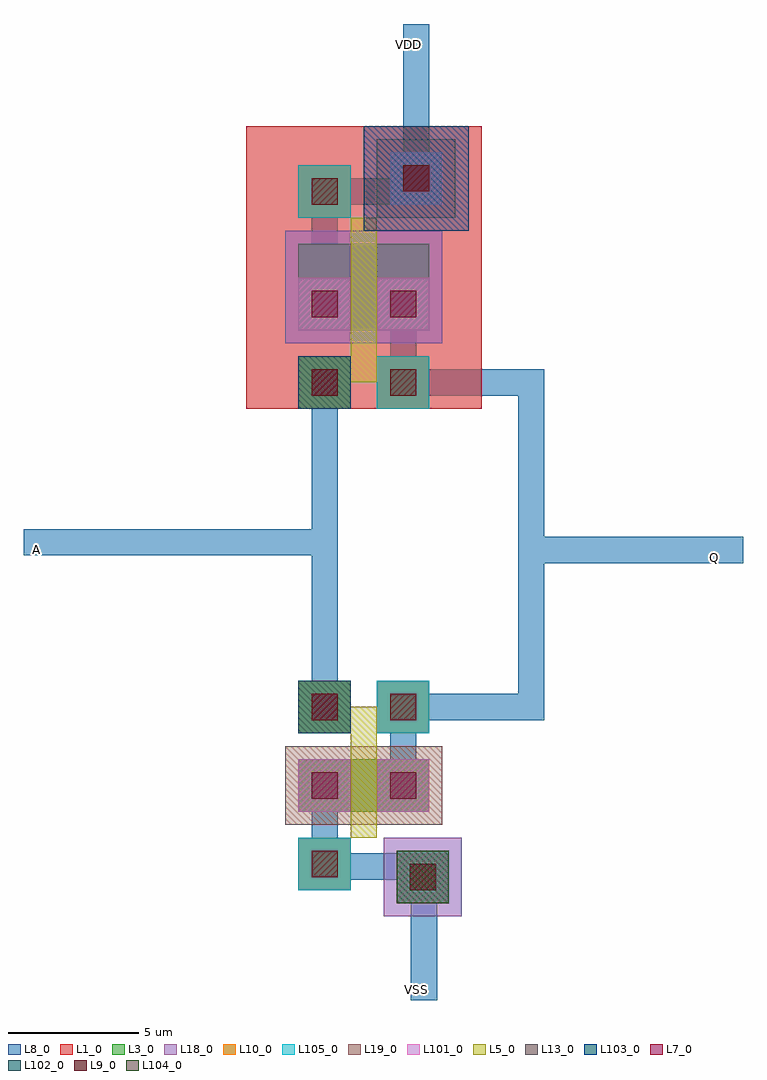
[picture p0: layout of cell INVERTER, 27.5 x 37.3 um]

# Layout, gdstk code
import gdstk
lib = gdstk.Library(unit=1e-6, precision=1e-09)
def R(c, l, rs):  # rectangles x0, y0, x1, y1
    for r in rs: c.add(gdstk.rectangle(r[:2], r[2:], *l))
L1_0 = (1, 0)
L3_0 = (3, 0)
L5_0 = (5, 0)
L7_0 = (7, 0)
L8_0 = (8, 0)
L9_0 = (9, 0)
L10_0 = (10, 0)
L13_0 = (13, 0)
L18_0 = (18, 0)
L19_0 = (19, 0)
L101_0 = (101, 0)
L102_0 = (102, 0)
L103_0 = (103, 0)
L104_0 = (104, 0)
L105_0 = (105, 0)

dcont = lib.new_cell('dcont')
R(dcont, L3_0, [(-1,-1,1,1)])
R(dcont, L7_0, [(-0.5,-0.5,0.5,0.5)])
R(dcont, L8_0, [(-1,-1,1,1)])
R(dcont, L13_0, [(-0.5,-0.5,0.5,0.5)])
R(dcont, L101_0, [(-1,-1,1,1)])

pcont = lib.new_cell('pcont')
R(pcont, L5_0, [(-1,-1,1,1)])
R(pcont, L7_0, [(-0.5,-0.5,0.5,0.5)])
R(pcont, L8_0, [(-1,-1,1,1)])
R(pcont, L13_0, [(-0.5,-0.5,0.5,0.5)])
R(pcont, L102_0, [(-1,-1,1,1)])

via = lib.new_cell('Via')
R(via, L8_0, [(-1,-1,1,1)])
R(via, L9_0, [(-0.5,-0.5,0.5,0.5)])
R(via, L10_0, [(-1,-1,1,1)])
R(via, L13_0, [(-0.5,-0.5,0.5,0.5)])
R(via, L105_0, [(-1,-1,1,1)])

dcont1 = lib.new_cell('dcont1')
R(dcont1, L3_0, [(-1,-1,1,1)])
R(dcont1, L7_0, [(-0.5,-0.5,0.5,0.5)])
R(dcont1, L8_0, [(-1,-1,1,1)])
R(dcont1, L13_0, [(-0.5,-0.5,0.5,0.5)])
R(dcont1, L101_0, [(-1,-1,1,1)])

psubcont = lib.new_cell('psubcont')
R(psubcont, L18_0, [(-1.5,-1.5,1.5,1.5)])
R(psubcont, L104_0, [(-1,-1,1,1)])
psubcont.add(gdstk.Reference(dcont1, (0,0)))

nch_1 = lib.new_cell('Nch$1')
R(nch_1, L3_0, [(0,3,5,5)])
R(nch_1, L19_0, [(-0.5,2.5,5.5,5.5)])
nch_1.add(gdstk.FlexPath([(1,3),(1,5)], 2, ends="flush", simple_path=True, layer=8, datatype=0))  # L8_0
nch_1.add(gdstk.FlexPath([(4,3),(4,5)], 2, ends="flush", simple_path=True, layer=8, datatype=0))  # L8_0
nch_1.add(gdstk.FlexPath([(1,1),(1,4)], 1, ends="flush", simple_path=True, layer=8, datatype=0))  # L8_0
nch_1.add(gdstk.FlexPath([(4,4),(4,7)], 1, ends="flush", simple_path=True, layer=8, datatype=0))  # L8_0
nch_1.add(gdstk.FlexPath([(2.5,3),(2.5,5)], 1, ends=(1, 1), simple_path=True, layer=5, datatype=0))  # L5_0
nch_1.add(gdstk.FlexPath([(1,6.5),(2.5,6.5),(2.5,6)], 1, ends="flush", simple_path=True, layer=5, datatype=0))  # L5_0
nch_1.add(gdstk.Reference(dcont, (1,4)))
nch_1.add(gdstk.Reference(dcont, (4,4)))
nch_1.add(gdstk.Reference(pcont, (1,7)))
nch_1.add(gdstk.Reference(via, (1,7)))
nch_1.add(gdstk.Reference(via, (1,1)))
nch_1.add(gdstk.Reference(via, (4,7)))
nch_1.add(gdstk.Reference(psubcont, (4.75,0.5)))
nch_1.add(gdstk.Reference(via, (4.75,0.5)))

nsubcont = lib.new_cell('nsubcont')
R(nsubcont, L1_0, [(-2,-2,2,2)])
R(nsubcont, L19_0, [(-1.5,-1.5,1.5,1.5)])
R(nsubcont, L103_0, [(-2,-2,2,2)])
nsubcont.add(gdstk.Reference(dcont1, (0,0)))

pch_1 = lib.new_cell('Pch$1')
R(pch_1, L1_0, [(-2,0,7,10.8)])
R(pch_1, L3_0, [(0,3,5,6.3)])
R(pch_1, L18_0, [(-0.5,2.5,5.5,6.8)])
pch_1.add(gdstk.FlexPath([(1,3),(1,6.3)], 2, ends="flush", simple_path=True, layer=8, datatype=0))  # L8_0
pch_1.add(gdstk.FlexPath([(4,3),(4,6.3)], 2, ends="flush", simple_path=True, layer=8, datatype=0))  # L8_0
pch_1.add(gdstk.FlexPath([(1,5.3),(1,8.3)], 1, ends="flush", simple_path=True, layer=8, datatype=0))  # L8_0
pch_1.add(gdstk.FlexPath([(4,1),(4,4)], 1, ends="flush", simple_path=True, layer=8, datatype=0))  # L8_0
pch_1.add(gdstk.FlexPath([(2.5,3),(2.5,6.3)], 1, ends=(1, 1), simple_path=True, layer=5, datatype=0))  # L5_0
pch_1.add(gdstk.FlexPath([(1,1.5),(2.5,1.5),(2.5,2)], 1, ends="flush", simple_path=True, layer=5, datatype=0))  # L5_0
pch_1.add(gdstk.Reference(dcont, (1,4)))
pch_1.add(gdstk.Reference(dcont, (4,4)))
pch_1.add(gdstk.Reference(pcont, (1,1)))
pch_1.add(gdstk.Reference(via, (1,1)))
pch_1.add(gdstk.Reference(via, (1,8.3)))
pch_1.add(gdstk.Reference(via, (4,1)))
pch_1.add(gdstk.Reference(nsubcont, (4.5,8.8)))
pch_1.add(gdstk.Reference(via, (4.5,8.8)))

inverter = lib.new_cell('INVERTER')
inverter.add(gdstk.FlexPath([(31.7,-14.7),(31.7,-27.3)], 1, ends="flush", simple_path=True, layer=8, datatype=0))  # L8_0
inverter.add(gdstk.FlexPath([(34.7,-14.7),(39.6,-14.7),(39.6,-27.1),(34.7,-27.1)], 1, ends="flush", simple_path=True, layer=8, datatype=0))  # L8_0
inverter.add(gdstk.FlexPath([(31.7,-20.8),(20.2,-20.8)], 1, ends="flush", simple_path=True, layer=8, datatype=0))  # L8_0
inverter.add(gdstk.FlexPath([(39.6,-21.1),(47.7,-21.1)], 1, ends="flush", simple_path=True, layer=8, datatype=0))  # L8_0
inverter.add(gdstk.FlexPath([(31.7,-7.4),(35.2,-7.4),(35.2,-1)], 1, ends="flush", simple_path=True, layer=8, datatype=0))  # L8_0
inverter.add(gdstk.FlexPath([(31.7,-33.2),(35.5,-33.2),(35.5,-38.3)], 1, ends="flush", simple_path=True, layer=8, datatype=0))  # L8_0
inverter.add(gdstk.Reference(nch_1, (30.7,-34.1)))
inverter.add(gdstk.Reference(pch_1, (30.7,-15.7)))
inverter.add(gdstk.Label('Q', (46.6,-21.4), layer=8, texttype=0))
inverter.add(gdstk.Label('A', (20.7,-21.1), layer=8, texttype=0))
inverter.add(gdstk.Label('VDD', (34.9,-1.8), layer=8, texttype=0))
inverter.add(gdstk.Label('VSS', (35.2,-37.9), layer=8, texttype=0))

lib.write_gds('INVERTER.gds')
